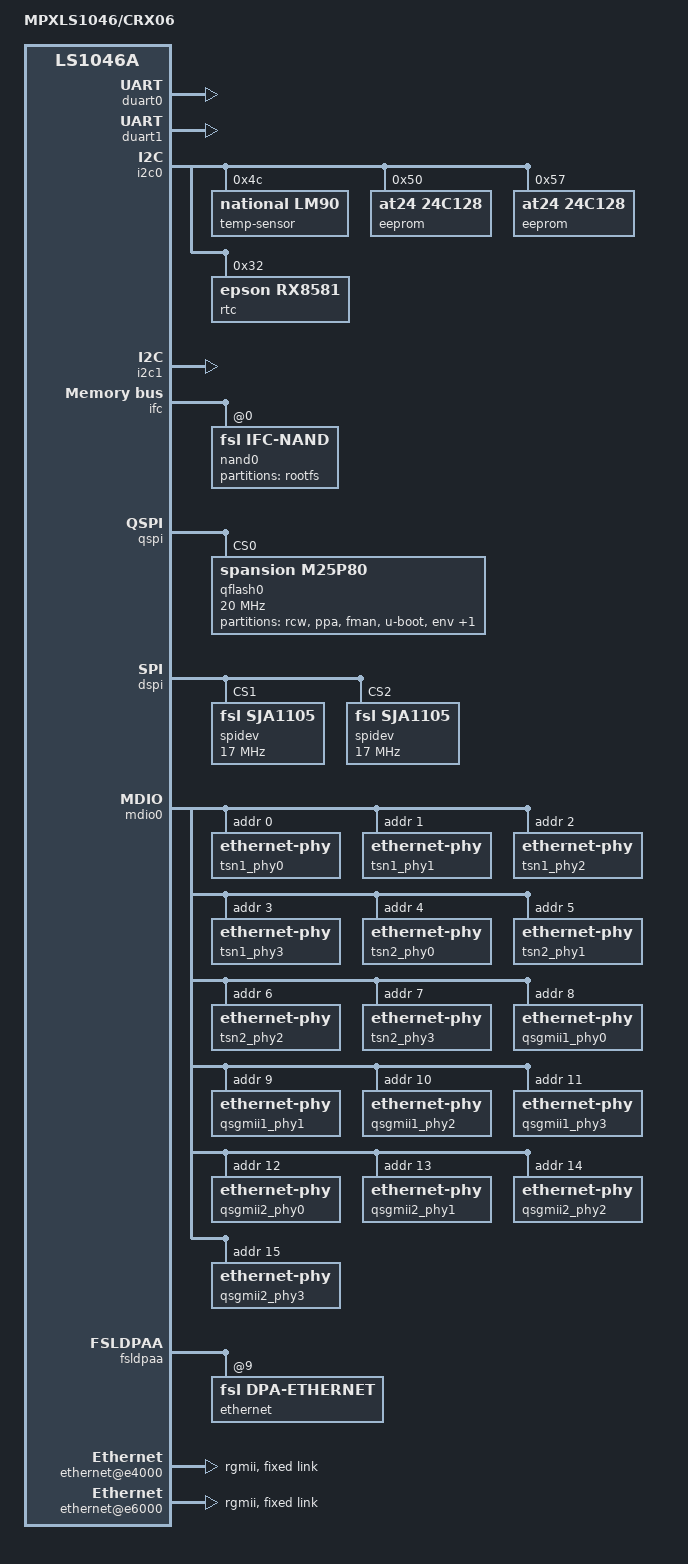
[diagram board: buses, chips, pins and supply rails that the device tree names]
/*
 * Device Tree Include file for Freescale Layerscape-1046A family SoC.
 *
 * Copyright 2016, Freescale Semiconductor, Inc.
 * (C) Copyright 2018 MicroSys Electronics GmbH
 *
 * Mingkai Hu <mingkai.hu@nxp.com>
 *
 * This file is dual-licensed: you can use it either under the terms
 * of the GPLv2 or the X11 license, at your option. Note that this dual
 * licensing only applies to this file, and not this project as a
 * whole.
 *
 *  a) This library is free software; you can redistribute it and/or
 *     modify it under the terms of the GNU General Public License as
 *     published by the Free Software Foundation; either version 2 of the
 *     License, or (at your option) any later version.
 *
 *     This library is distributed in the hope that it will be useful,
 *     but WITHOUT ANY WARRANTY; without even the implied warranty of
 *     MERCHANTABILITY or FITNESS FOR A PARTICULAR PURPOSE.  See the
 *     GNU General Public License for more details.
 *
 * Or, alternatively,
 *
 *  b) Permission is hereby granted, free of charge, to any person
 *     obtaining a copy of this software and associated documentation
 *     files (the "Software"), to deal in the Software without
 *     restriction, including without limitation the rights to use,
 *     copy, modify, merge, publish, distribute, sublicense, and/or
 *     sell copies of the Software, and to permit persons to whom the
 *     Software is furnished to do so, subject to the following
 *     conditions:
 *
 *     The above copyright notice and this permission notice shall be
 *     included in all copies or substantial portions of the Software.
 *
 *     THE SOFTWARE IS PROVIDED "AS IS", WITHOUT WARRANTY OF ANY KIND,
 *     EXPRESS OR IMPLIED, INCLUDING BUT NOT LIMITED TO THE WARRANTIES
 *     OF MERCHANTABILITY, FITNESS FOR A PARTICULAR PURPOSE AND
 *     NONINFRINGEMENT. IN NO EVENT SHALL THE AUTHORS OR COPYRIGHT
 *     HOLDERS BE LIABLE FOR ANY CLAIM, DAMAGES OR OTHER LIABILITY,
 *     WHETHER IN AN ACTION OF CONTRACT, TORT OR OTHERWISE, ARISING
 *     FROM, OUT OF OR IN CONNECTION WITH THE SOFTWARE OR THE USE OR
 *     OTHER DEALINGS IN THE SOFTWARE.
 */

/dts-v1/;

#include "fsl-ls1046a.dtsi"
#include "qoriq-qman-portals-sdk.dtsi"
#include "qoriq-bman-portals-sdk.dtsi"

/ {
	model = "MPXLS1046/CRX06";
	compatible = "fsl,ls1046a-rdb", "fsl,ls1046a";

	aliases {

		serial0 = &duart0;
		serial1 = &duart1;
		serial2 = &duart2;
		serial3 = &duart3;

		mdio0 = &mdio0;
		mdio1 = &xmdio0;

		tgec0 = &enet6;
		tgec1 = &enet7;

		crypto = &crypto;
	};

	chosen {
		stdout-path = "serial0:115200n8";
	};
};

&bman_fbpr {
	compatible = "fsl,bman-fbpr";
	alloc-ranges = <0 0 0x10000 0>;
};
&qman_fqd {
	compatible = "fsl,qman-fqd";
	alloc-ranges = <0 0 0x10000 0>;
};
&qman_pfdr {
	compatible = "fsl,qman-pfdr";
	alloc-ranges = <0 0 0x10000 0>;
};

&esdhc {
	compatible = "microsys,mpxls1046-esdhc", "fsl,ls1046a-esdhc", "fsl,esdhc";
	mmc-hs200-1_8v;
};

&duart0 {
	status = "okay";
};

&duart1 {
	status = "okay";
};

&i2c0 {
	status = "okay";

	temp-sensor@4c {
		compatible = "national,lm90";
		reg = <0x4c>;
	};
	eeprom@50 {
		compatible = "at24,24c128";
		reg = <0x50>;
	};

	eeprom@57 {
		compatible = "at24,24c128";
		reg = <0x57>;
	};

	rtc@32 {
		compatible = "epson,rx8581";
		reg = <0x32>;
	};
};

&i2c1 {
	status = "okay";

};

&ifc {
	#address-cells = <2>;
	#size-cells = <1>;

	/* NAND Flashe and CPLD on board */
	ranges = <0x0 0x0 0x0 0x7e800000 0x00010000>;

	status = "okay";

		nand0: nand@0,0 {
			compatible = "fsl,ifc-nand";
			#address-cells = <1>;
			#size-cells = <1>;
			reg = <0x0 0x0 0x10000>;
		};
};

&qspi {
	num-cs = <1>;
	bus-num = <0>;
	status = "okay";

	qflash0: s25fs512s@0 {
		compatible = "spansion,m25p80";
		#address-cells = <1>;
		#size-cells = <1>;
		spi-max-frequency = <20000000>;
		m25p,fast-read;
		reg = <0>;
	};

};

&nand0 {
		partition@0 {
			reg = <0x0 0x20000000>;
			label = "rootfs";
		};
};

&qflash0 {
		partition@0 {
			reg = <0x0 0x2000>;
			label = "rcw";
		};
		partition@1 {
			reg = <0x2000 0xe000>;
			label = "ppa";
		};
		partition@2 {
			reg = <0x10000 0xa000>;
			label = "fman";
		};
		partition@3 {
			reg = <0x100000 0x100000>;
			label = "u-boot";
		};
		partition@4 {
			reg = <0x300000 0x2000>;
			label = "env";
		};
		partition@5 {
			reg = <0x500000 0xb00000>;
			label = "kernel";
		};
};

&dspi {
    num-cs = <2>;
    bus-num = <0>;
    status = "okay";

	spidev@0x01 {
	compatible = "fsl,sja1105";
        spi-max-frequency = <17000000>;
        spi-cpha;
        reg = <1>;
        fsl,spi-sck-cs-delay = <25>;
        fsl,spi-cs-sck-delay = <25>;
	};

	spidev@0x02 {
	compatible = "fsl,sja1105";
        spi-max-frequency = <17000000>;
        spi-cpha;
        reg = <2>;
        fsl,spi-sck-cs-delay = <25>;
        fsl,spi-cs-sck-delay = <25>;
    };
};

#include "fsl-ls1046-post.dtsi"
&soc {
#include "qoriq-dpaa-eth.dtsi"
#include "qoriq-fman3-0-6oh.dtsi"
};

&mdio0 {

	tsn1_phy0: ethernet-phy@0 {
		reg = <0x0>;
	};

	tsn1_phy1: ethernet-phy@1 {
		reg = <0x1>;
	};

	tsn1_phy2: ethernet-phy@2 {
		reg = <0x2>;
	};

	tsn1_phy3: ethernet-phy@3 {
		reg = <0x3>;
	};

	tsn2_phy0: ethernet-phy@4 {
		reg = <0x4>;
	};

	tsn2_phy1: ethernet-phy@5 {
		reg = <0x5>;
	};

	tsn2_phy2: ethernet-phy@6 {
		reg = <0x6>;
	};

	tsn2_phy3: ethernet-phy@7 {
		reg = <0x7>;
	};

	qsgmii1_phy0: ethernet-phy@8 {
		reg = <0x8>;
	};

	qsgmii1_phy1: ethernet-phy@9 {
		reg = <0x9>;
	};

	qsgmii1_phy2: ethernet-phy@a {
		reg = <0xa>;
	};

	qsgmii1_phy3: ethernet-phy@b {
		reg = <0xb>;
	};

	qsgmii2_phy0: ethernet-phy@c {
		reg = <0xc>;
	};

	qsgmii2_phy1: ethernet-phy@d {
		reg = <0xd>;
	};

	qsgmii2_phy2: ethernet-phy@e {
		reg = <0xe>;
	};

	qsgmii2_phy3: ethernet-phy@f {
		reg = <0xf>;
	};

};

&fsldpaa {
	ethernet@9 {
		compatible = "fsl,dpa-ethernet";
		fsl,fman-mac = <&enet7>;
		dma-coherent;
	};
};

&fman0 {

	compatible = "fsl,fman", "simple-bus";

	ethernet@e4000 {
		phy-connection-type = "rgmii";
		status = "okay";
		fixed-link {
			full-duplex;
			speed = <1000>;
			pause;
			asym-pause;
		};
	};

	ethernet@e6000 {
		phy-connection-type = "rgmii";
		status = "okay";
		fixed-link {
			full-duplex;
			speed = <1000>;
			pause;
			asym-pause;
		};
	};

};
